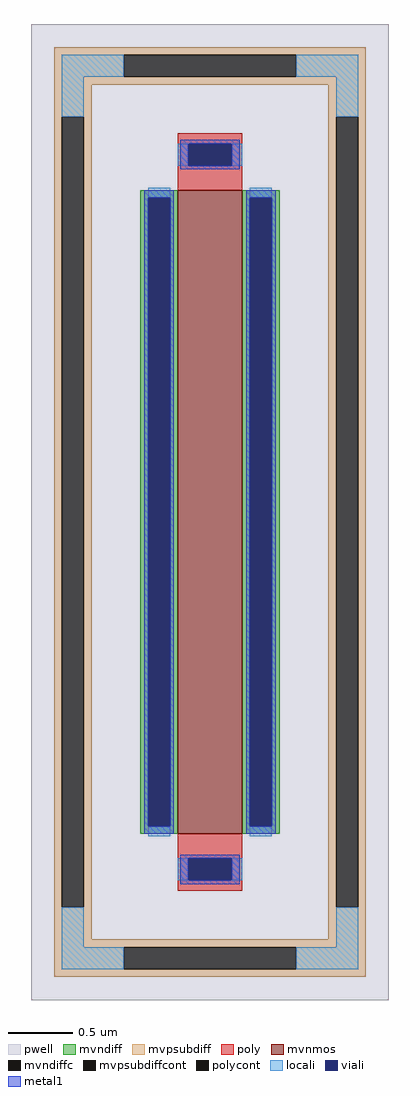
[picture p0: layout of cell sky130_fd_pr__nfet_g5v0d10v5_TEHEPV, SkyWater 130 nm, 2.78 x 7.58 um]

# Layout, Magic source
magic
tech sky130A
<< pwell >>
rect -139 -379 139 379
<< mvnmos >>
rect -25 -250 25 250
<< mvndiff >>
rect -54 244 -25 250
rect -54 -244 -48 244
rect -31 -244 -25 244
rect -54 -250 -25 -244
rect 25 244 54 250
rect 25 -244 31 244
rect 48 -244 54 244
rect 25 -250 54 -244
<< mvndiffc >>
rect -48 -244 -31 244
rect 31 -244 48 244
<< mvpsubdiff >>
rect -121 355 121 361
rect -121 338 -67 355
rect 67 338 121 355
rect -121 332 121 338
rect -121 307 -92 332
rect -121 -307 -115 307
rect -98 -307 -92 307
rect 92 307 121 332
rect -121 -332 -92 -307
rect 92 -307 98 307
rect 115 -307 121 307
rect 92 -332 121 -307
rect -121 -338 121 -332
rect -121 -355 -67 -338
rect 67 -355 121 -338
rect -121 -361 121 -355
<< mvpsubdiffcont >>
rect -67 338 67 355
rect -115 -307 -98 307
rect 98 -307 115 307
rect -67 -355 67 -338
<< poly >>
rect -25 286 25 294
rect -25 269 -17 286
rect 17 269 25 286
rect -25 250 25 269
rect -25 -269 25 -250
rect -25 -286 -17 -269
rect 17 -286 25 -269
rect -25 -294 25 -286
<< polycont >>
rect -17 269 17 286
rect -17 -286 17 -269
<< locali >>
rect -115 338 -67 355
rect 67 338 115 355
rect -115 307 -98 338
rect 98 307 115 338
rect -25 269 -17 286
rect 17 269 25 286
rect -48 244 -31 252
rect -48 -252 -31 -244
rect 31 244 48 252
rect 31 -252 48 -244
rect -25 -286 -17 -269
rect 17 -286 25 -269
rect -115 -338 -98 -307
rect 98 -338 115 -307
rect -115 -355 -67 -338
rect 67 -355 115 -338
<< viali >>
rect -17 269 17 286
rect -48 -244 -31 244
rect 31 -244 48 244
rect -17 -286 17 -269
<< metal1 >>
rect -23 286 23 289
rect -23 269 -17 286
rect 17 269 23 286
rect -23 266 23 269
rect -51 244 -28 250
rect -51 -244 -48 244
rect -31 -244 -28 244
rect -51 -250 -28 -244
rect 28 244 51 250
rect 28 -244 31 244
rect 48 -244 51 244
rect 28 -250 51 -244
rect -23 -269 23 -266
rect -23 -286 -17 -269
rect 17 -286 23 -269
rect -23 -289 23 -286
<< properties >>
string FIXED_BBOX -106 -346 106 346
string gencell sky130_fd_pr__nfet_g5v0d10v5
string library sky130
string parameters w 5.0 l 0.5 m 1 nf 1 diffcov 100 polycov 100 guard 1 glc 1 grc 1 gtc 1 gbc 1 tbcov 100 rlcov 100 topc 1 botc 1 poverlap 0 doverlap 1 lmin 0.50 wmin 0.42 class mosfet compatible {sky130_fd_pr__nfet_01v8 sky130_fd_pr__nfet_01v8_lvt  sky130_fd_bs_flash__special_sonosfet_star  sky130_fd_pr__nfet_g5v0d10v5 sky130_fd_pr__nfet_05v0_nvt  sky130_fd_pr__nfet_03v3_nvt} full_metal 1 viasrc 100 viadrn 100 viagate 100 viagb 0 viagr 0 viagl 0 viagt 0
<< end >>
